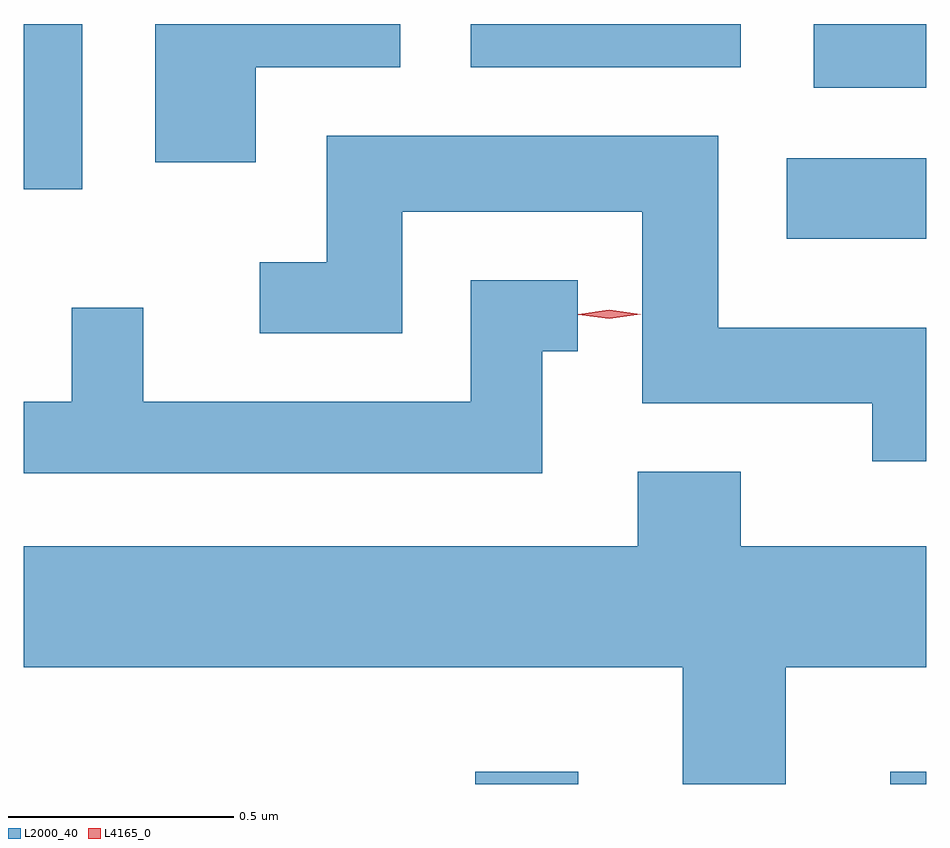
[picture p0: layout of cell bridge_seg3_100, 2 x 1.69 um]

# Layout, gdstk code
import gdstk
lib = gdstk.Library(unit=1e-6, precision=1e-09)
def R(c, l, rs):  # rectangles x0, y0, x1, y1
    for r in rs: c.add(gdstk.rectangle(r[:2], r[2:], *l))
def P(c, l, *ps):  # polygons
    for p in ps: c.add(gdstk.Polygon(p, *l))
L2000_40 = (2000, 40)
L4165_0 = (4165, 0)

bridge_seg3_100 = lib.new_cell('bridge_seg3_100')
R(bridge_seg3_100, L2000_40, [(982.701,1252.297,982.929,1252.324), (983.621,1252.297,983.7,1252.324), (983.391,1253.506,983.7,1253.684), (981.7,1253.616,981.829,1253.982), (983.451,1253.841,983.7,1253.982), (982.691,1253.886,983.289,1253.982)])
P(bridge_seg3_100, L2000_40, [(982.214,1253.886),(982.534,1253.886),(982.534,1253.982),(981.991,1253.982),(981.991,1253.676),(982.214,1253.676)],
  [(983.7,1253.309),(983.239,1253.309),(983.239,1253.734),(982.371,1253.734),(982.371,1253.454),(982.223,1253.454),(982.223,1253.296),(982.539,1253.296),(982.539,1253.566),(983.071,1253.566),(983.071,1253.141),(983.581,1253.141),(983.581,1253.013),(983.7,1253.013)],
  [(982.849,1253.256),(982.928,1253.256),(982.928,1253.414),(982.691,1253.414),(982.691,1253.144),(981.964,1253.144),(981.964,1253.353),(981.806,1253.353),(981.806,1253.144),(981.7,1253.144),(981.7,1252.986),(982.849,1252.986)],
  [(983.389,1252.556),(983.7,1252.556),(983.7,1252.824),(983.289,1252.824),(983.289,1252.989),(983.061,1252.989),(983.061,1252.824),(981.7,1252.824),(981.7,1252.556),(983.161,1252.556),(983.161,1252.297),(983.389,1252.297)])
P(bridge_seg3_100, L4165_0, [(982.998,1253.328),(982.929,1253.337),(982.929,1253.338),(982.929,1253.338),(982.998,1253.348),(983.068,1253.339),(983.068,1253.338),(983.068,1253.338)])

lib.write_gds('bridge_seg3_100.gds')
